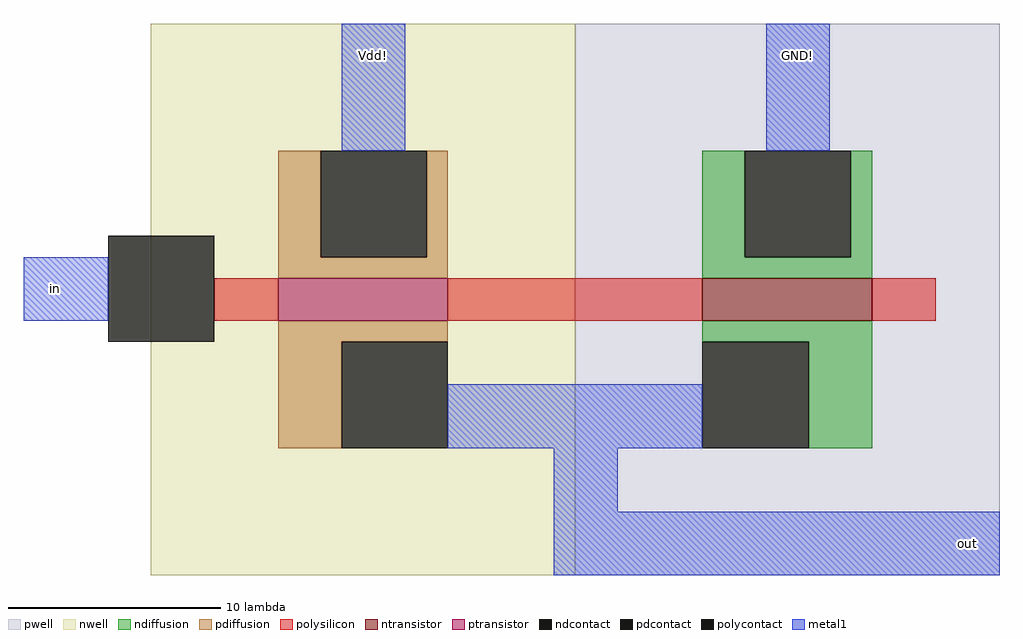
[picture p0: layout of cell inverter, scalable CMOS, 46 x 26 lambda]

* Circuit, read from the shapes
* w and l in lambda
.subckt inverter GND! Vdd! in out
M1 GND! in out VSUBS nfet w=8 l=2
M2 Vdd! in out n1 pfet w=8 l=2
.ends

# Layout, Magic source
magic
tech scmos
<< nwell >>
rect -6 -10 14 16
<< pwell >>
rect 14 -10 34 16
<< ntransistor >>
rect 20 2 28 4
<< ptransistor >>
rect 0 2 8 4
<< ndiffusion >>
rect 20 5 22 10
rect 27 5 28 10
rect 20 4 28 5
rect 20 1 28 2
rect 25 -4 28 1
<< pdiffusion >>
rect 0 5 2 10
rect 7 5 8 10
rect 0 4 8 5
rect 0 1 8 2
rect 0 -4 3 1
<< ndcontact >>
rect 22 5 27 10
rect 20 -4 25 1
<< pdcontact >>
rect 2 5 7 10
rect 3 -4 8 1
<< polysilicon >>
rect -3 2 0 4
rect 8 2 20 4
rect 28 2 31 4
<< polycontact >>
rect -8 1 -3 6
<< metal1 >>
rect 3 10 6 16
rect 23 10 26 16
rect -12 2 -8 5
rect 8 -4 20 -1
rect 13 -7 16 -4
rect 13 -10 34 -7
<< labels >>
rlabel metal1 4 14 5 15 5 Vdd!
rlabel metal1 24 14 25 15 5 GND!
rlabel metal1 -11 3 -10 4 3 in
rlabel metal1 32 -9 33 -8 8 out
<< end >>
